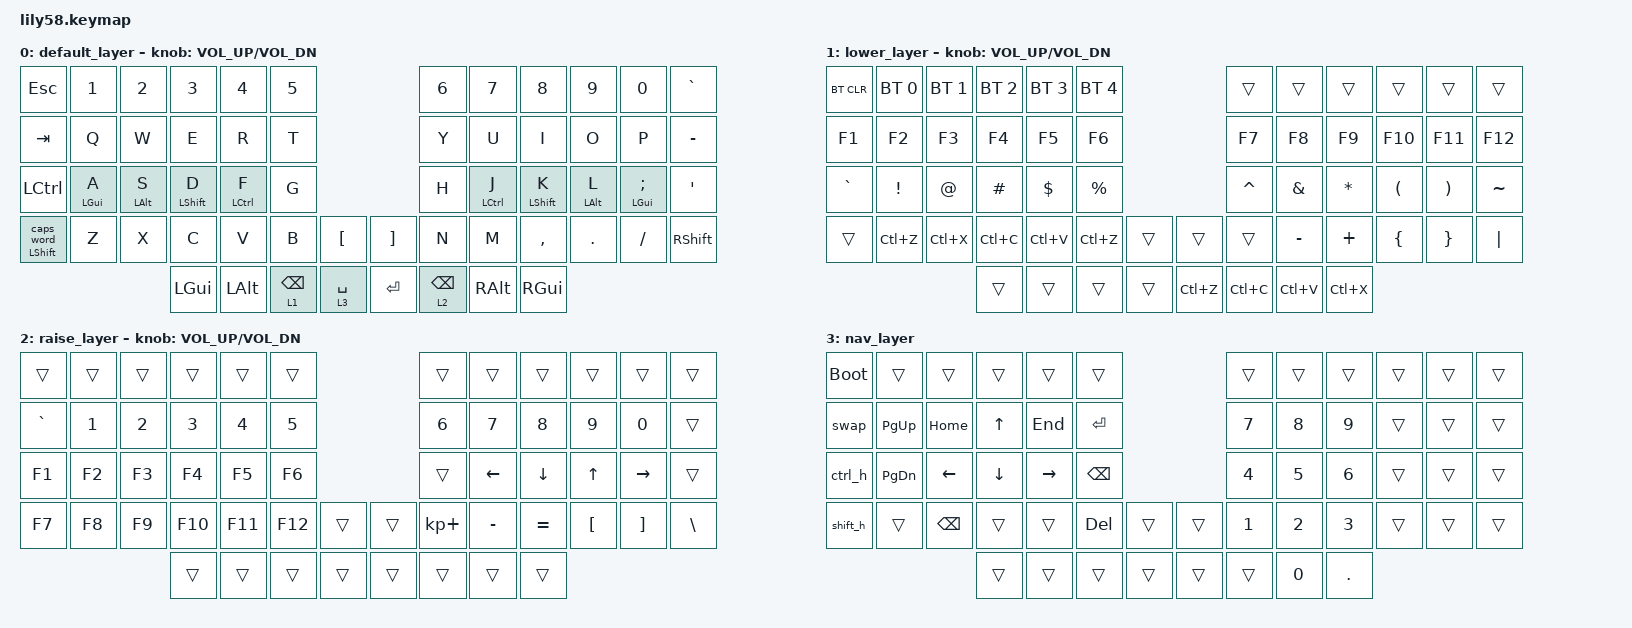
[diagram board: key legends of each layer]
/*
 * Copyright (c) 2020 The ZMK Contributors
 *
 * SPDX-License-Identifier: MIT
 */
#include "lily58-rev.h"

#include "base.keymap"

#define ARROWS LT2 LM3 LM2 LM1

/ {
    behaviors {
        kt_on: key_toggle_on_only {
            compatible = "zmk,behavior-key-toggle";
            #binding-cells = <1>;
            display-name = "Key Toggle On";
            toggle-mode = "on";
        };
        kt_off: key_toggle_off_only {
            compatible = "zmk,behavior-key-toggle";
            #binding-cells = <1>;
            display-name = "Key Toggle off";
            toggle-mode = "off";
        };
        // mv_win: mv_win {
        //     compatible = "zmk,behavior-tri-state";
        //     #binding-cells = <0>;
        //     bindings = <&kt LGUI>, <&none>, <&kt LGUI>;
        //     ignored-key-positions = <ARROWS>; // ignore arrows
        // };
        ctrl_h: ctrl_h {
            compatible = "zmk,behavior-tri-state";
            #binding-cells = <0>;
            bindings = <&none>, <&kt LCTRL>, <&kt_off LCTRL>;
            ignored-key-positions = <ARROWS LB5>; // ignore arrows
        };
        shift_h: shift_h {
            compatible = "zmk,behavior-tri-state";
            #binding-cells = <0>;
            bindings = <&none>, <&kt LSHFT>, <&kt_off LSHFT>;
            ignored-key-positions = <ARROWS LM5>; // ignore arrows
        };
        // shift on hold, tap for caps word
        swap: swapper {
            compatible = "zmk,behavior-tri-state";
            #binding-cells = <0>;
            bindings = <&kt LALT>, <&kp TAB>, <&kt LALT>;
            ignored-key-positions = <LF5 ARROWS>; // ignore left shift and arrows
        };
        caps: mod_tap {
            compatible = "zmk,behavior-hold-tap";
            #binding-cells = <2>;
            flavor = "hold-preferred";
            tapping-term-ms = <200>;
            bindings = <&kp>, <&caps_word>;
            display-name = "Mod-Tap";
        };
    };

    keymap {
        compatible = "zmk,keymap";

        default_layer {
// ------------------------------------------------------------------------------------------------------------
// |  ESC  |  1  |  2  |  3   |  4   |  5   |                   |  6   |  7    |  8    |  9   |   0   |   `   |
// |  TAB  |  Q  |  W  |  E   |  R   |  T   |                   |  Y   |  U    |  I    |  O   |   P   |   -   |
// |  CTRL |  A  |  S  |  D   |  F   |  G   |                   |  H   |  J    |  K    |  L   |   ;   |   '   |
// | SHIFT |  Z  |  X  |  C   |  V   |  B   |   "["  |  |  "]"  |  N   |  M    |  ,    |  .   |   /   | SHIFT |
//                     | GUI  | ALT  | LOWER|  SPACE1|  | ENTER | RAISE| BSPC  | GUI   |
            bindings = <
&kp ESC   &kp N1        &kp N2            &kp N3        &kp N4       &kp N5                              &kp N6 &kp N7        &kp N8        &kp N9           &kp N0         &kp GRAVE
&kp TAB   &kp Q         &kp W             &kp E         &kp R        &kp T                               &kp Y  &kp U         &kp I         &kp O            &kp P          &kp MINUS
&kp LCTRL &hml LGUI A   &hml LEFT_ALT S   &hml LSHFT D  &hml LCTRL F &kp G                               &kp H  &hmr LCTRL J  &hmr LSHFT K  &hmr LEFT_ALT L  &hmr LGUI SEMI &kp SQT
&caps LSHFT 0 &kp Z         &kp X             &kp C         &kp V        &kp B        &kp LBKT      &kp RBKT &kp N  &kp M         &kp COMMA     &kp DOT          &kp FSLH       &kp RSHFT
                                          &kp LGUI      &kp LALT     &lt 1 BSPC   &lt 3 SPACE   &kp RET  &lt 2 BSPC  &kp RALT      &kp RGUI
            >;

            sensor-bindings = <&inc_dec_kp C_VOL_UP C_VOL_DN>;
        };

        lower_layer {
// ------------------------------------------------------------------------------------------------------------
// | BTCLR | BT1 | BT2 |  BT3 |  BT4 |  BT5 |                   |      |       |       |      |       |       |
// |  F1   |  F2 |  F3 |  F4  |  F5  |  F6  |                   |  F7  |  F8   |  F9   |  F10 |  F11  |  F12  |
// |   `   |  !  |  @  |  #   |  $   |  %   |                   |  ^   |  &    |  *    |  (   |   )   |   ~   |
// |       |     |     |      |      |      |        |  |       |      |  _    |  +    |  {   |   }   |  "|"  |
//                     |      |      |      |        |  |       |      |       |       |
            bindings = <
&bt BT_CLR  &bt BT_SEL 0     &bt BT_SEL 1      &bt BT_SEL 2      &bt BT_SEL 3 &bt BT_SEL 4                 &trans    &trans    &trans    &trans    &trans    &trans
&kp F1      &kp F2           &kp F3            &kp F4            &kp F5       &kp F6                       &kp F7    &kp F8    &kp F9    &kp F10   &kp F11   &kp F12
&kp GRAVE   &kp EXCL         &kp AT            &kp HASH          &kp DOLLAR   &kp PRCNT                    &kp CARET &kp AMPS  &kp ASTRK &kp LPAR  &kp RPAR  &kp TILDE
&trans      &kp LC(Z)        &kp LC(X)         &kp LC(C)         &kp LC(V)    &kp LC(Z) &trans   &trans    &trans    &kp MINUS &kp PLUS  &kp LBRC  &kp RBRC  &kp PIPE
                                               &trans            &trans       &trans    &trans   &kp LC(Z) &kp LC(C) &kp LC(V) &kp LC(X)
            >;

            sensor-bindings = <&inc_dec_kp C_VOL_UP C_VOL_DN>;
        };
        raise_layer {
// ------------------------------------------------------------------------------------------------------------
// |       |     |     |      |      |      |                   |      |       |       |      |       |       |
// |   `   |  1  |  2  |  3   |  4   |  5   |                   |  6   |   7   |   8   |  9   |   0   |       |
// |   F1  |  F2 |  F3 |  F4  |  F5  |  F6  |                   |      |   <-  |   v   |  ^   |  ->   |       |
// |   F7  |  F8 |  F9 |  F10 |  F11 |  F12 |        |  |       |  +   |   -   |   =   |  [   |   ]   |   \   |
//                     |      |      |      |        |  |       |      |       |       |
            bindings = <
&trans    &trans &trans &trans  &trans  &trans                       &trans      &trans    &trans    &trans   &trans    &trans
&kp GRAVE &kp N1 &kp N2 &kp N3  &kp N4  &kp N5                       &kp N6      &kp N7    &kp N8    &kp N9   &kp N0    &trans
&kp F1    &kp F2 &kp F3 &kp F4  &kp F5  &kp F6                       &trans      &kp LEFT  &kp DOWN  &kp UP   &kp RIGHT &trans
&kp F7    &kp F8 &kp F9 &kp F10 &kp F11 &kp F12   &trans   &trans    &kp KP_PLUS &kp MINUS &kp EQUAL &kp LBKT &kp RBKT  &kp BSLH
                        &trans  &trans  &trans    &trans   &trans    &trans      &trans    &trans
            >;

            sensor-bindings = <&inc_dec_kp C_VOL_UP C_VOL_DN>;
        };
        nav_layer {
            bindings = <
&bootloader      &trans    &trans    &trans    &trans       &trans                            &trans      &trans    &trans    &trans   &trans    &trans
&swap            &kp PG_UP &kp HOME  &kp UP    &kp END      &kp RET                           &kp N7  &kp N8  &kp N9          &trans   &trans    &trans
&ctrl_h          &kp PG_DN &kp LEFT  &kp DOWN  &kp RIGHT    &kp BSPC                          &kp N4  &kp N5  &kp N6          &trans   &trans    &trans
&shift_h         &trans    &kp BSPC  &trans    &trans       &kp DEL   &trans          &trans  &kp N1  &kp N2  &kp N3          &trans   &trans    &trans
                                            &trans  &trans  &trans    &trans          &trans  &trans  &kp N0  &kp DOT      
>;
        };
    };
};

// &trans    &trans &trans &trans  &trans  &trans                         &trans      &trans    &trans    &trans   &trans    &trans
// &trans    &trans &trans &trans  &trans  &trans                         &trans      &trans    &trans    &trans   &trans    &trans
// &trans    &trans &trans &trans  &trans  &trans                         &trans      &trans    &trans    &trans   &trans    &trans
// &trans    &trans &trans &trans  &trans  &trans  &trans         &trans  &trans      &trans    &trans    &trans   &trans    &trans
//                         &trans  &trans  &trans  &trans         &trans  &trans      &trans    &trans 
